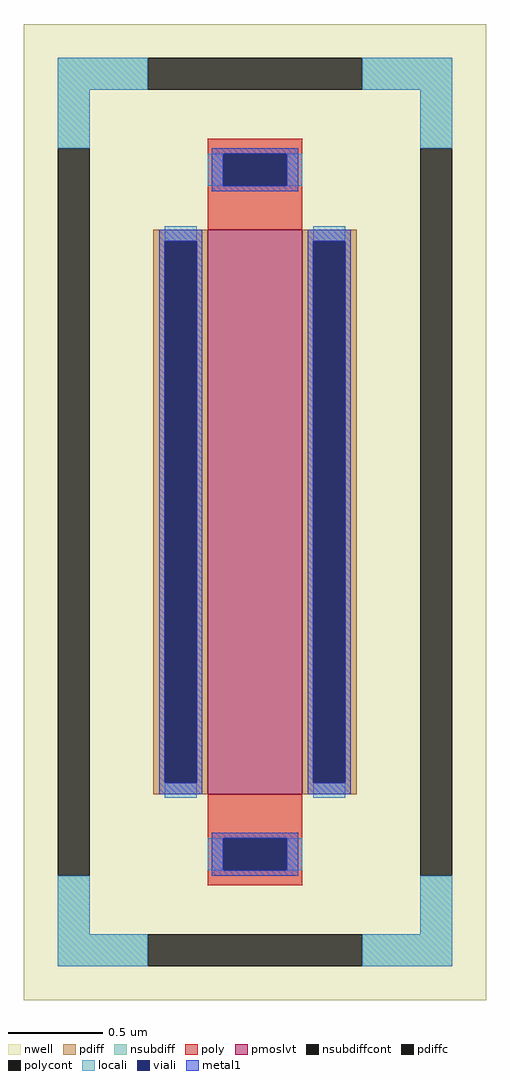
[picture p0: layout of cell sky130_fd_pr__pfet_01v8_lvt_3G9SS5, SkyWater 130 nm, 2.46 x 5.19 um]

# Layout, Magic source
magic
tech sky130A
magscale 1 2
<< nwell >>
rect -246 -519 246 519
<< pmoslvt >>
rect -50 -300 50 300
<< pdiff >>
rect -108 288 -50 300
rect -108 -288 -96 288
rect -62 -288 -50 288
rect -108 -300 -50 -288
rect 50 288 108 300
rect 50 -288 62 288
rect 96 -288 108 288
rect 50 -300 108 -288
<< pdiffc >>
rect -96 -288 -62 288
rect 62 -288 96 288
<< nsubdiff >>
rect -210 449 -114 483
rect 114 449 210 483
rect -210 387 -176 449
rect 176 387 210 449
rect -210 -449 -176 -387
rect 176 -449 210 -387
rect -210 -483 -114 -449
rect 114 -483 210 -449
<< nsubdiffcont >>
rect -114 449 114 483
rect -210 -387 -176 387
rect 176 -387 210 387
rect -114 -483 114 -449
<< poly >>
rect -50 381 50 397
rect -50 347 -34 381
rect 34 347 50 381
rect -50 300 50 347
rect -50 -347 50 -300
rect -50 -381 -34 -347
rect 34 -381 50 -347
rect -50 -397 50 -381
<< polycont >>
rect -34 347 34 381
rect -34 -381 34 -347
<< locali >>
rect -210 449 -114 483
rect 114 449 210 483
rect -210 387 -176 449
rect 176 387 210 449
rect -50 347 -34 381
rect 34 347 50 381
rect -96 288 -62 304
rect -96 -304 -62 -288
rect 62 288 96 304
rect 62 -304 96 -288
rect -50 -381 -34 -347
rect 34 -381 50 -347
rect -210 -449 -176 -387
rect 176 -449 210 -387
rect -210 -483 -114 -449
rect 114 -483 210 -449
<< viali >>
rect -34 347 34 381
rect -96 -288 -62 288
rect 62 -288 96 288
rect -34 -381 34 -347
<< metal1 >>
rect -46 381 46 387
rect -46 347 -34 381
rect 34 347 46 381
rect -46 341 46 347
rect -102 288 -56 300
rect -102 -288 -96 288
rect -62 -288 -56 288
rect -102 -300 -56 -288
rect 56 288 102 300
rect 56 -288 62 288
rect 96 -288 102 288
rect 56 -300 102 -288
rect -46 -347 46 -341
rect -46 -381 -34 -347
rect 34 -381 46 -347
rect -46 -387 46 -381
<< properties >>
string FIXED_BBOX -193 -466 193 466
string gencell sky130_fd_pr__pfet_01v8_lvt
string library sky130
string parameters w 3 l 0.5 m 1 nf 1 diffcov 100 polycov 100 guard 1 glc 1 grc 1 gtc 1 gbc 1 tbcov 100 rlcov 100 topc 1 botc 1 poverlap 0 doverlap 1 lmin 0.15 wmin 0.42 compatible {sky130_fd_pr__pfet_01v8  sky130_fd_pr__pfet_01v8_lvt sky130_fd_pr__pfet_01v8_hvt  sky130_fd_pr__pfet_g5v0d10v5} full_metal 1 viasrc 100 viadrn 100 viagate 100 viagb 0 viagr 0 viagl 0 viagt 0
<< end >>
